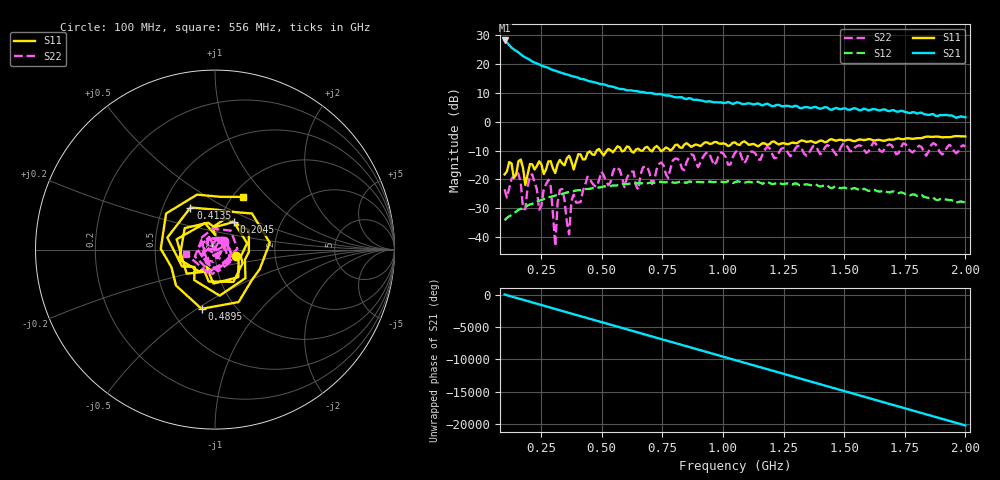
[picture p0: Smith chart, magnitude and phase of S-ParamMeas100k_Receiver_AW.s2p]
!Keysight Technologies,N5242B,MY48420967,A.15.65.19
!Date: Saturday, February 04, 2023 07:34:55
!Correction: S11(C  1-Port  )
!S21(Off)
!S12(Off)
!S22(Off)
!S2P File: Measurements: S11, S21, S12, S22:
# Hz S  dB  R 50
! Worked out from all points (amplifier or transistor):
!   201 points, 100 MHz to 2 GHz, reference 50 ohm
!   highest |S21| = 28.2 dB at 100 MHz (marker M1)
!   |S21| within 3 dB of that: start of sweep to 136.4 MHz
!   unconditionally stable (mu >= 1): start of sweep to end of sweep
!   at 413.5 MHz: K = 1.45, MAG = 15.3 dB, |S12| = -23.7 dB
!   at 1.05 GHz: K = 2.14, MAG = 7.7 dB, |S12| = -20.9 dB
!   at 2 GHz: K = 6.09, MAG = 3.9 dB, |S12| = -28.0 dB
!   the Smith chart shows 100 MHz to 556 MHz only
!   S11 on the Smith chart (normalised r, x): 100 MHz: 1.26, -0.09; 204.5 MHz: 1.17, +0.37; 413.5 MHz: 0.69, +0.35; 489.5 MHz: 0.70, -0.52; 556 MHz: 1.11, +0.73
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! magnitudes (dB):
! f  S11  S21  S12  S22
! 100 MHz  -18.3  28.2  -34.2  -23.4
! 147.5 MHz  -18.3  24.6  -31.1  -17.2
! 166.5 MHz  -13.1  23.4  -30.2  -21.0
! 185.5 MHz  -21.9  22.3  -29.5  -30.3
! 204.5 MHz  -14.6  21.5  -28.7  -18.6
! 242.5 MHz  -13.7  19.9  -27.4  -30.5
! 280.5 MHz  -13.7  18.7  -26.1  -20.1
! 309 MHz  -17.8  17.7  -25.5  -43.1
! 328 MHz  -13.2  17.2  -25.2  -23.6
! 366 MHz  -11.8  16.2  -24.3  -39.0
! 375.5 MHz  -13.7  15.9  -24.2  -27.4
! 413.5 MHz  -11.3  14.9  -23.7  -27.8
! 423 MHz  -13.1  14.8  -23.5  -23.9
! 489.5 MHz  -9.4  13.3  -22.8  -20.2
! 556 MHz  -9.6  11.9  -22.1  -15.7
! 651 MHz  -9.3  10.5  -21.4  -23.5
! 670 MHz  -10.0  10.3  -21.3  -15.9
! 736.5 MHz  -9.1  9.7  -20.9  -14.6
! 1.05 GHz  -7.1  6.5  -20.9  -10.7
! 1.373 GHz  -7.0  5.0  -21.8  -8.4
! 1.687 GHz  -6.1  3.7  -24.5  -7.8
! 2 GHz  -5.1  1.6  -28.0  -8.6
